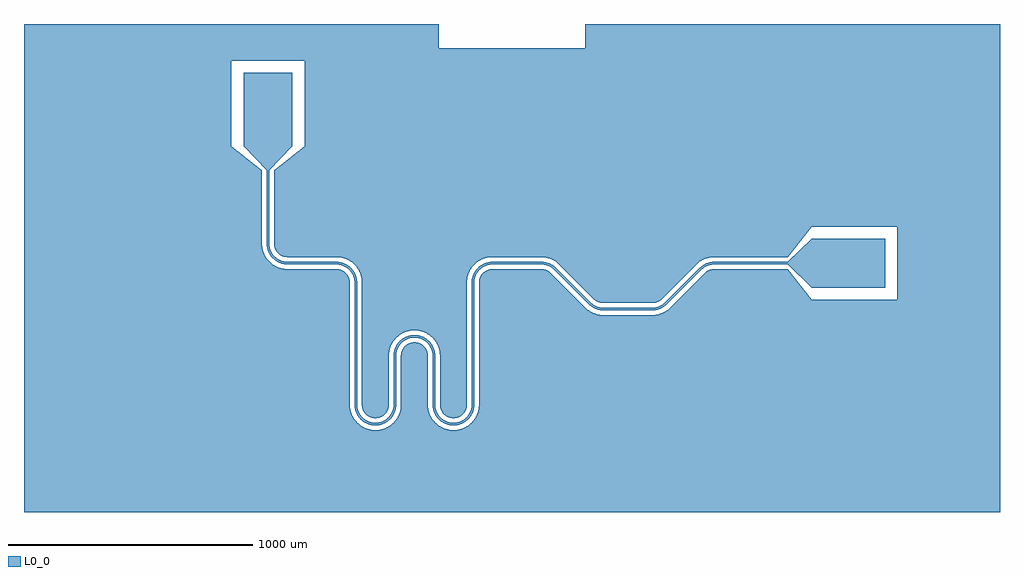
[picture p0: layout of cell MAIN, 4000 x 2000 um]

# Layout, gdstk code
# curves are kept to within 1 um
import gdstk
lib = gdstk.Library(unit=1e-6, precision=1e-09)
def P(c, l, *ps):  # polygons
    for p in ps: c.add(gdstk.Polygon(p, *l))
L0_0 = (0, 0)

main = lib.new_cell('MAIN')
P(main, L0_0, [(-671.629,-1000),(-671.629,-33.823),(-678.524,-23.879),(-688.661,-14.802),(-700.715,-8.492),(-713.95,-5.334),(-920,-5),(-940.13,-3.052),(-956.817,1.666),(-972.5,9.067),(-984.492,17.14),(-997.251,28.885),(-1007.902,42.57),(-1016.156,57.822),(-1021.787,74.224),(-1024.641,91.329),(-1025,400),(-1150,500),(-1150,850),(-850,850),(-850,500),(-975,400),(-975,100),(-973.669,87.973),(-968.371,73.823),(-958.351,60.577),(-946.177,51.629),(-930.544,46.02),(-714.216,44.841),(-691.429,41.038),(-671.629,33.184),(-671.629,1000),(-2000,1000),(-2000,-1000)],
  [(-558.457,-614.978),(-549.27,-613.943),(-549.27,1000),(-671.629,1000),(-671.629,33.184),(-648.885,17.251),(-632.098,-2.57),(-620.689,-25.907),(-615.359,-51.329),(-614.223,-569.213),(-607.372,-587.944),(-594.292,-603.001),(-576.702,-612.403)],
  [(-549.27,-664.442),(-568.671,-664.641),(-588.571,-661.038),(-604.812,-654.958),(-622.185,-644.605),(-637.251,-631.115),(-649.452,-614.986),(-658.334,-596.817),(-663.052,-580.13),(-665,-560),(-665.021,-58.485),(-667.075,-45.034),(-671.629,-33.823),(-671.629,-1000),(-549.27,-1000)],
  [(-547.761,-613.621),(-533.395,-608.137),(-520.034,-597.785),(-511.135,-585.244),(-505.777,-569.213),(-504.96,-357.107),(-500.213,-328.656),(-489.452,-305.014),(-475.262,-286.784),(-454.986,-270.548),(-431.827,-259.945),(-431.827,1000),(-549.27,1000),(-549.27,-613.943)],
  [(-431.827,-315.144),(-439.966,-322.215),(-447.372,-332.056),(-451.914,-341.835),(-454.654,-353.842),(-455.04,-562.893),(-456.432,-577.282),(-460.689,-594.093),(-473.713,-619.83),(-482.749,-631.115),(-495.508,-642.86),(-520.488,-657.282),(-534.224,-661.787),(-549.27,-664.442),(-549.27,-1000),(-431.827,-1000)],
  [(-428.571,-258.962),(-405.784,-255.159),(-382.718,-256.432),(-360.488,-262.718),(-340.17,-273.713),(-322.749,-288.885),(-309.067,-307.5),(-299.787,-328.656),(-295.359,-351.329),(-295.359,900),(-300,900),(-300,1000),(-431.827,1000),(-431.827,-259.945)],
  [(-295.359,-649.215),(-313.216,-635.262),(-327.902,-617.43),(-338.334,-596.817),(-343.568,-577.282),(-345,-560),(-345.022,-358.457),(-349.187,-338.952),(-355.144,-328.173),(-363.351,-318.99),(-373.395,-311.863),(-384.774,-307.15),(-396.916,-305.087),(-409.213,-305.777),(-421.048,-309.187),(-431.827,-315.144),(-431.827,-1000),(-295.359,-1000)],
  [(-238.457,-614.978),(-218.952,-610.813),(-209.444,-605.731),(-201.109,-598.891),(-189.797,-582.464),(-185.087,-563.084),(-184.96,-57.107),(-180.213,-28.656),(-169.452,-5.014),(-169.452,900),(-295.359,900),(-294.978,-561.543),(-293.621,-572.239),(-290.203,-582.464),(-284.856,-591.827),(-277.785,-599.966),(-269.262,-606.57),(-259.614,-611.384),(-249.213,-614.223)],
  [(-169.452,-637.759),(-182.57,-647.902),(-197.822,-656.156),(-214.224,-661.787),(-231.329,-664.641),(-248.671,-664.641),(-265.776,-661.787),(-282.178,-656.156),(-295.359,-649.215),(-295.359,-1000),(-169.452,-1000)],
  [(-167.902,-2.57),(-151.115,17.251),(-132.5,30.933),(-111.344,40.213),(-85.784,44.841),(131.756,44.34),(149.068,40.896),(165.558,34.602),(180.76,25.634),(194.246,14.246),(194.246,900),(-169.452,900),(-169.452,-5.014)],
  [(194.246,-56.464),(151.827,-15.144),(138.165,-8.086),(123.084,-5.087),(-87.554,-5.521),(-102.093,-9.632),(-113.782,-16.597),(-124.317,-27.427),(-131.508,-40.715),(-135,-60),(-135.04,-562.893),(-137.541,-582.962),(-145.042,-604.812),(-155.395,-622.185),(-169.452,-637.759),(-169.452,-1000),(194.246,-1000)],
  [(2000,1000),(300,1000),(300,900),(194.246,900),(194.246,14.246),(335.668,-127.175),(349.314,-137.149),(360.821,-141.541),(374.558,-143.284),(576.101,-143.263),(594.173,-139.668),(603.82,-134.854),(612.343,-128.251),(761.374,20.224),(783.559,34.602),(805.752,42.367),(829.117,45),(1129.117,45),(1229.117,170),(1579.117,170),(1579.117,-130),(1229.117,-130),(1129.117,-5),(826.033,-5.087),(809.503,-8.616),(793.632,-17.978),(646.693,-164.584),(632.893,-175.589),(614.74,-185.292),(595.043,-191.267),(577.503,-193.243),(368.671,-193.119),(351.194,-190.652),(337.113,-186.38),(323.768,-180.183),(309.092,-170.377),(194.246,-56.464),(194.246,-1000),(2000,-1000)],
  [(-645.568,-18.972),(-655.451,-4.697),(-668.776,7.831),(-684.473,17.22),(-699.267,22.433),(-720,25),(-931.504,25.888),(-949.234,30.932),(-963.333,38.785),(-975.426,49.473),(-986.076,64.518),(-992.735,81.706),(-994.964,97.69),(-995,400),(-900,500),(-900,800),(-1100,800),(-1100,500),(-1005,400),(-1004.96,97.382),(-1002.433,79.267),(-994.886,59.787),(-982.816,42.736),(-969.111,30.623),(-953.132,21.723),(-933.038,16.006),(-717.69,14.964),(-697.264,11.471),(-676.667,1.215),(-661.569,-12.981),(-650.932,-30.766),(-645.568,-50.783)],
  [(-557.382,-644.96),(-544.381,-643.553),(-529.294,-639.26),(-517.5,-633.612),(-504.697,-624.549),(-491.168,-609.856),(-491.168,-589.786),(-502.212,-607.807),(-519.813,-623.325),(-541.348,-632.644),(-564.709,-634.852),(-587.609,-629.733),(-607.807,-617.788),(-623.325,-600.187),(-632.644,-578.652),(-635,-560),(-635.04,-57.382),(-638.245,-36.739),(-645.568,-18.972),(-643.994,-573.038),(-640.168,-588.25),(-633.612,-602.5),(-624.549,-615.303),(-613.289,-626.222),(-600.213,-634.886),(-585.768,-641),(-570.446,-644.356)],
  [(-490.623,-609.111),(-479.832,-588.25),(-475.161,-565.233),(-474.963,-357.644),(-470.566,-334.595),(-460.676,-315.916),(-445.968,-300.738),(-429.786,-291.168),(-409.4,-285.591),(-388.267,-285.923),(-370.214,-291.168),(-352.193,-302.212),(-338.977,-316.41),(-338.977,-300.829),(-353.049,-289.144),(-371.75,-279.832),(-386.962,-276.006),(-402.618,-275.04),(-420.733,-277.567),(-435.527,-282.78),(-449.111,-290.623),(-462.816,-302.736),(-473.612,-317.5),(-480.168,-331.75),(-483.553,-344.381),(-484.96,-357.382),(-485.037,-562.356),(-486.806,-576.361),(-491.168,-589.786)],
  [(-237.382,-644.96),(-214.232,-641),(-195.253,-632.268),(-188.776,-627.831),(-188.776,-614.779),(-203.868,-625.723),(-219.076,-632.022),(-237.644,-634.963),(-254.054,-633.672),(-269.786,-628.832),(-285.968,-619.262),(-299.262,-605.968),(-307.862,-591.933),(-312.644,-578.652),(-314.963,-562.356),(-315.363,-352.157),(-317.567,-339.267),(-322.78,-324.473),(-330.623,-310.889),(-338.977,-300.829),(-338.977,-316.41),(-329.434,-334.595),(-325.148,-355.291),(-325,-560),(-321.755,-583.261),(-317.22,-595.527),(-309.377,-609.111),(-301.023,-619.171),(-289.111,-629.377),(-277.888,-636.089),(-265.768,-641),(-250.446,-644.356)],
  [(-186.711,-626.222),(-173.778,-613.289),(-163.911,-597.888),(-157.567,-580.733),(-155.161,-565.233),(-154.964,-57.69),(-152.735,-41.706),(-146.076,-24.518),(-135.426,-9.473),(-123.333,1.215),(-109.234,9.068),(-91.504,14.112),(122.265,14.966),(137.949,12.821),(152.833,7.432),(152.833,18.398),(137.84,23.107),(122.567,24.961),(-90.446,24.356),(-110.706,19.26),(-129.111,9.377),(-142.816,-2.736),(-154.886,-19.787),(-162.433,-39.267),(-164.96,-57.382),(-165.148,-564.709),(-167.356,-578.652),(-172.138,-591.933),(-179.324,-604.084),(-188.776,-614.779),(-188.776,-627.831)],
  [(577.126,-173.245),(589.88,-171.892),(604.7,-167.761),(626.98,-155.195),(779.383,-3.862),(790.317,4.184),(800.416,9.291),(822.329,14.692),(1129.117,15),(1229.117,-80),(1529.117,-80),(1529.117,120),(1229.117,120),(1129.117,25),(829.117,25),(803.829,21.151),(787.36,14.036),(770.856,1.892),(622.574,-145.899),(603.26,-157.575),(590.3,-161.614),(579.087,-163.147),(372.293,-163.25),(358.817,-161.614),(345.857,-157.575),(333.837,-151.267),(323.151,-142.895),(176.365,3.623),(166.151,11.38),(152.833,18.398),(152.833,7.432),(171.407,-5.389),(316.297,-150.176),(326.273,-158.238),(339.673,-165.796),(356.719,-171.391),(371.991,-173.245)])

lib.write_gds('MAIN.gds')
